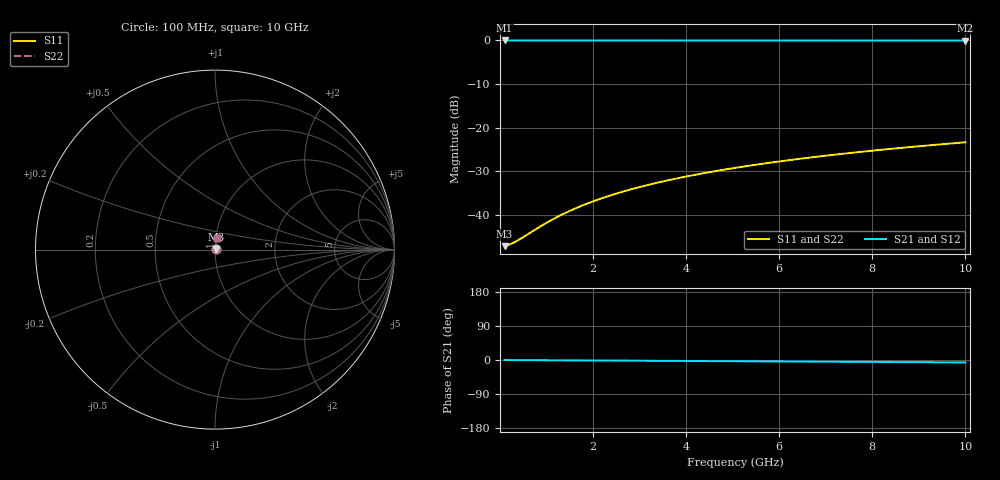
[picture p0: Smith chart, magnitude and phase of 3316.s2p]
# Hz S RI R 50.00
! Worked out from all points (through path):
!   100 points, 100 MHz to 10 GHz, reference 50 ohm
!   highest |S21| = -0.04 dB at 100 MHz (marker M1); lowest = -0.1 dB at 10 GHz (marker M2)
!   lowest |S11| = -47.1 dB at 100 MHz (marker M3), VSWR 1.01, Z = 50.4 + j0.0683 ohm
!   |S11| at or under -10 dB: start of sweep to end of sweep
!   |S22| runs from -47.1 to -23.3 dB; largest |S21 - S12| = 0
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1e8  0.00437 0.000677  0.9956 -0.00111  0.9956 -0.00111  0.00437 0.000677
2e8  0.0044 0.00135  0.9956 -0.00222  0.9956 -0.00222  0.0044 0.00135
3e8  0.00443 0.00203  0.9956 -0.00332  0.9956 -0.00332  0.00443 0.00203
4e8  0.00445 0.00271  0.9955 -0.00443  0.9955 -0.00443  0.00445 0.00271
9e8  0.00456 0.00609  0.9954 -0.00997  0.9954 -0.00997  0.00456 0.00609
1.2e9  0.00463 0.00813  0.9954 -0.0133  0.9954 -0.0133  0.00463 0.00813
1.5e9  0.00471 0.0102  0.9953 -0.0166  0.9953 -0.0166  0.00471 0.0102
1.8e9  0.00481 0.0122  0.9952 -0.0199  0.9952 -0.0199  0.00481 0.0122
2.1e9  0.00491 0.0142  0.995 -0.0233  0.995 -0.0233  0.00491 0.0142
2.5e9  0.00507 0.0169  0.9949 -0.0277  0.9949 -0.0277  0.00507 0.0169
2.9e9  0.00525 0.0196  0.9947 -0.0321  0.9947 -0.0321  0.00525 0.0196
3.4e9  0.00551 0.023  0.9944 -0.0376  0.9944 -0.0376  0.00551 0.023
3.8e9  0.00574 0.0257  0.9941 -0.0421  0.9941 -0.0421  0.00574 0.0257
4.2e9  0.006 0.0284  0.9938 -0.0465  0.9938 -0.0465  0.006 0.0284
4.6e9  0.00628 0.0311  0.9935 -0.0509  0.9935 -0.0509  0.00628 0.0311
5.1e9  0.00666 0.0344  0.9931 -0.0564  0.9931 -0.0564  0.00666 0.0344
5.9e9  0.00735 0.0398  0.9923 -0.0652  0.9923 -0.0652  0.00735 0.0398
6.7e9  0.00814 0.0452  0.9914 -0.074  0.9914 -0.074  0.00814 0.0452
7.5e9  0.00901 0.0505  0.9904 -0.0828  0.9904 -0.0828  0.00901 0.0505
8.4e9  0.0101 0.0565  0.9892 -0.0927  0.9892 -0.0927  0.0101 0.0565
9.2e9  0.0112 0.0618  0.988 -0.1014  0.988 -0.1014  0.0112 0.0618
1e10  0.0124 0.067  0.9867 -0.1102  0.9867 -0.1102  0.0124 0.067
